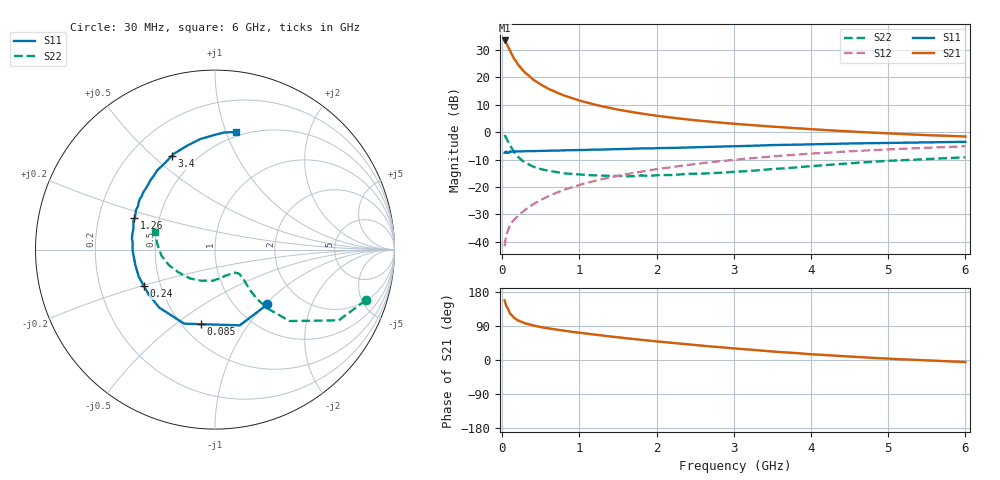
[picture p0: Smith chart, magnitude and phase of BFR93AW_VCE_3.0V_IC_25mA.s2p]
! Infineon Technologies  Discrete & RF Semiconductors
! BFR93AW
! VCE =  3.0 V,  IC =  25 mA
! Common Emitter S-Parameters:  Nov 2015
# GHz  S  MA  R  50
!  f  S11  S21  S12  S22
! GHz  MAG  ANG  MAG  ANG  MAG  ANG  MAG  ANG
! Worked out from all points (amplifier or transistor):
!   206 points, 30 MHz to 6 GHz, reference 50 ohm
!   highest |S21| = 33.5 dB at 30 MHz (marker M1)
!   |S21| within 3 dB of that: start of sweep to 85.54 MHz
!   unconditionally stable (mu >= 1): 480.7 MHz to 2.268 GHz
!   at 200 MHz: K = 0.78, MSG = 27.8 dB, |S12| = -30.7 dB
!   at 1.56 GHz: K = 1.04, MAG = 10.5 dB, |S12| = -15.6 dB
!   at 6 GHz: K = 0.92, MSG = 1.8 dB, |S12| = -5.1 dB
!   S11 on the Smith chart (normalised r, x): 30 MHz: 1.38, -1.03; 85 MHz: 0.61, -0.62; 240 MHz: 0.40, -0.20; 1.26 GHz: 0.36, +0.16; 3.4 GHz: 0.37, +0.57; 6 GHz: 0.46, +1.08
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0.03  0.4221 -46.4  47.18 157.3  0.0083 70.6  0.8868 -18.5
0.05  0.444 -71.9  42.75 143.0  0.0129 68.9  0.7939 -29.8
0.085  0.4229 -100.7  33.52 130.1  0.0179 63.3  0.6362 -38.6
0.1  0.4469 -112.6  30.31 122.4  0.0201 61.7  0.575 -43.8
0.15  0.4482 -133.8  22.26 111.5  0.0251 59.9  0.4381 -48.3
0.2  0.4464 -145.8  17.43 104.7  0.0292 61.8  0.3604 -49.6
0.24  0.4453 -152.8  14.85 101.1  0.033 62.9  0.3187 -49.3
0.3  0.4508 -160.3  12 96.4  0.0385 65.6  0.2775 -48.5
0.4  0.4521 -169.2  9.11 91.0  0.0482 68.2  0.2348 -46.4
0.5  0.4547 -175.6  7.365 86.7  0.058 69.6  0.2103 -45.5
0.6  0.4597 -179.9  6.165 83.3  0.0681 70.8  0.1971 -44.8
0.7  0.4601 175.6  5.323 80.1  0.0783 71.2  0.1875 -45.4
0.88  0.4684 169.4  4.271 75.0  0.0965 71.2  0.1745 -47.8
1.04  0.4718 164.6  3.639 70.8  0.1128 70.8  0.1672 -51.1
1.26  0.4817 158.7  3.036 65.3  0.1356 69.8  0.1622 -56.2
1.6  0.493 150.3  2.432 57.5  0.1701 67.4  0.1563 -66.7
2.02  0.5117 141.1  1.976 48.6  0.2128 64.2  0.164 -82.2
3.1  0.5573 120.1  1.389 29.1  0.3215 53.9  0.1919 -116.7
3.4  0.5745 114.9  1.292 24.2  0.351 50.8  0.206 -127.5
4.1  0.603 103.5  1.111 14.1  0.4138 43.2  0.2451 -151.0
5.1  0.639 90.2  0.937 2.6  0.4916 32.2  0.3039 -176.2
6  0.6651 80.0  0.835 -5.4  0.5528 23.0  0.3475 163.7
